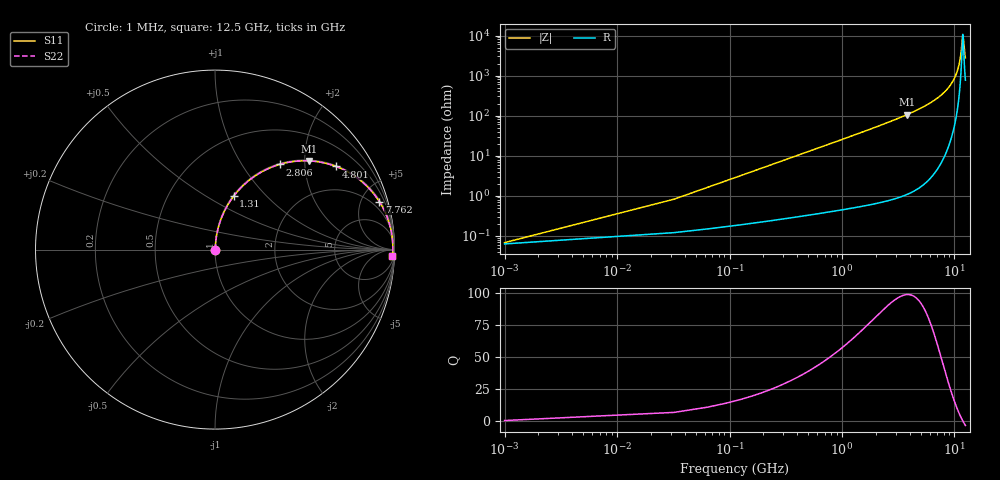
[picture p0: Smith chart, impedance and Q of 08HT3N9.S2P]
! Coilcraft 0805HT-3N9 Chip Inductor
! 24 June 2002
# MHZ S MA R 50
!Freq  MagS11  AngS11  MagS21  AngS21  MagS12  AngS12  MagS22  AngS22
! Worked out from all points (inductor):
!   402 points, 1 MHz to 12.5 GHz, reference 50 ohm
!   read as one part in series: L = 4 nH near 63.34 MHz
!   highest Q = 98.9 at 3.773 GHz (marker M1), where L = 4.45 nH
!   self-resonance near 11.85 GHz
!   S11 on the Smith chart (normalised r, x): 1 MHz: 1.00, +0.00; 1.31 GHz: 1.01, +0.67; 2.806 GHz: 1.02, +1.49; 4.801 GHz: 1.03, +2.89; 7.762 GHz: 1.15, +6.82; 12.5 GHz: 16, -53
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1  0.0006704 22.0  0.9994 -0.0  0.9994 -0.0  0.0006704 22.0
94.51  0.02377 84.6  0.998 -1.4  0.998 -1.4  0.02377 84.6
156.85  0.03937 84.8  0.9972 -2.3  0.9972 -2.3  0.03937 84.8
281.53  0.07049 83.9  0.995 -4.0  0.995 -4.0  0.07049 83.9
437.38  0.1091 82.1  0.991 -6.3  0.991 -6.3  0.1091 82.1
655.57  0.1625 79.4  0.9831 -9.4  0.9831 -9.4  0.1625 79.4
1310.14  0.3148 70.8  0.9444 -18.3  0.9444 -18.3  0.3148 70.8
2089.39  0.4741 61.0  0.8748 -28.3  0.8748 -28.3  0.4741 61.0
2806.3  0.5955 52.8  0.797 -36.5  0.797 -36.5  0.5955 52.8
3772.57  0.7221 43.2  0.6845 -46.2  0.6845 -46.2  0.7221 43.2
4177.78  0.7641 39.6  0.6374 -49.8  0.6374 -49.8  0.7641 39.6
4801.18  0.8179 34.5  0.5668 -54.9  0.5668 -54.9  0.8179 34.5
6266.17  0.9046 24.5  0.4142 -64.8  0.4142 -64.8  0.9046 24.5
7762.33  0.9541 16.2  0.2798 -72.5  0.2798 -72.5  0.9541 16.2
8354.56  0.9665 13.4  0.2321 -75.0  0.2321 -75.0  0.9665 13.4
9539.02  0.9824 8.3  0.1451 -78.9  0.1451 -78.9  0.9824 8.3
10442.95  0.9886 4.9  0.08524 -79.9  0.08524 -79.9  0.9886 4.9
11253.37  0.9908 2.0  0.03625 -74.2  0.03625 -74.2  0.9908 2.0
11845.6  0.9907 0.1  0.009329 -6.9  0.009329 -6.9  0.9907 0.1
11939.11  0.9906 -0.2  0.01022 23.3  0.01022 23.3  0.9906 -0.2
12250.81  0.9901 -1.2  0.02331 64.1  0.02331 64.1  0.9901 -1.2
12500  0.9894 -2.0  0.03596 71.9  0.03596 71.9  0.9894 -2.0
